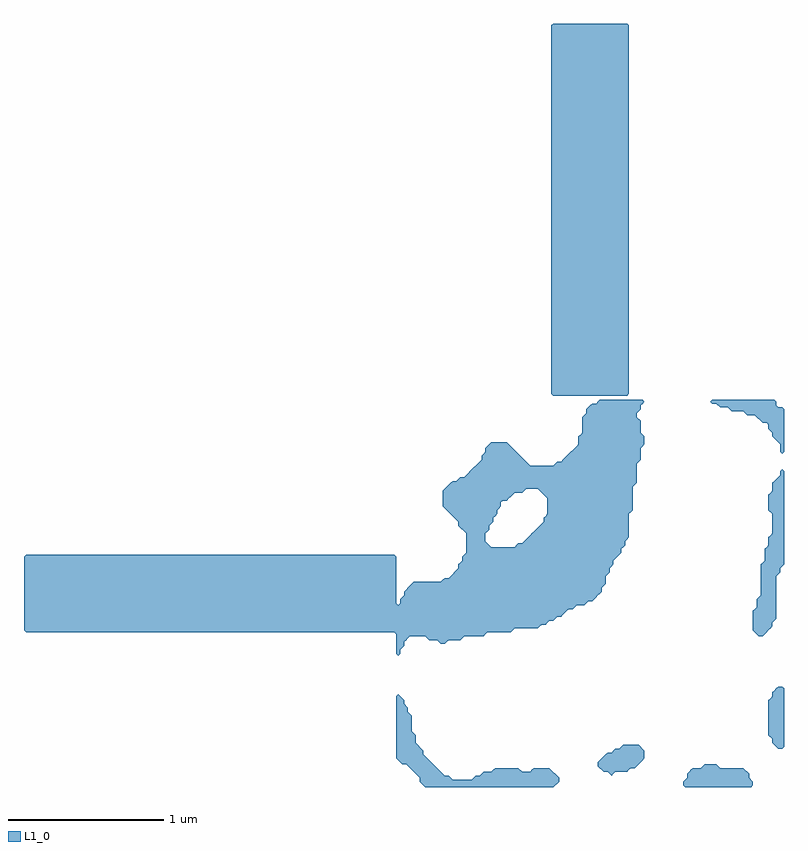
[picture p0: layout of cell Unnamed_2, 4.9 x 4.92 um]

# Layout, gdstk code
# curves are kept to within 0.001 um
import gdstk
lib = gdstk.Library(unit=1e-6, precision=1e-09)
def P(c, l, *ps):  # polygons
    for p in ps: c.add(gdstk.Polygon(p, *l))
L1_0 = (1, 0)

unnamed_2 = lib.new_cell('Unnamed_2')
P(unnamed_2, L1_0, [(0.8,-1.463),(0.787,-1.45),(0.787,-1.425),(0.812,-1.4),(0.812,-1.375),(0.85,-1.338),(0.9,-1.338),(0.925,-1.313),(1,-1.313),(1.025,-1.338),(1.175,-1.338),(1.212,-1.375),(1.212,-1.4),(1.237,-1.425),(1.237,-1.45),(1.225,-1.463)],
  [(0.325,-1.388),(0.3,-1.363),(0.275,-1.363),(0.237,-1.325),(0.237,-1.3),(0.3,-1.238),(0.325,-1.238),(0.35,-1.213),(0.375,-1.213),(0.4,-1.188),(0.5,-1.188),(0.537,-1.225),(0.537,-1.275),(0.475,-1.338),(0.45,-1.338),(0.425,-1.363),(0.35,-1.363)],
  [(-0.875,-1.463),(-0.913,-1.425),(-0.913,-1.4),(-1,-1.313),(-1.025,-1.313),(-1.063,-1.275),(-1.063,-0.875),(-1.05,-0.863),(-1.013,-0.9),(-1.013,-0.925),(-0.988,-0.95),(-0.988,-0.975),(-0.963,-1),(-0.963,-1.1),(-0.938,-1.125),(-0.938,-1.175),(-0.888,-1.225),(-0.888,-1.25),(-0.75,-1.388),(-0.725,-1.388),(-0.7,-1.413),(-0.575,-1.413),(-0.55,-1.388),(-0.525,-1.388),(-0.5,-1.363),(-0.45,-1.363),(-0.425,-1.338),(-0.275,-1.338),(-0.25,-1.363),(-0.2,-1.363),(-0.175,-1.338),(-0.075,-1.338),(-0.013,-1.4),(-0.013,-1.425),(-0.05,-1.463)],
  [(1.4,-1.213),(1.362,-1.175),(1.362,-1.15),(1.337,-1.125),(1.337,-0.9),(1.362,-0.875),(1.362,-0.85),(1.387,-0.825),(1.4,-0.813),(1.425,-0.813),(1.437,-0.825),(1.437,-1.2),(1.425,-1.213)],
  [(1.275,-0.488),(1.237,-0.45),(1.237,-0.325),(1.262,-0.3),(1.262,-0.25),(1.287,-0.225),(1.287,-0.025),(1.312,0),(1.312,0.075),(1.337,0.1),(1.337,0.15),(1.362,0.175),(1.362,0.3),(1.337,0.325),(1.337,0.425),(1.362,0.45),(1.362,0.5),(1.412,0.55),(1.412,0.575),(1.425,0.587),(1.437,0.575),(1.437,-0.025),(1.412,-0.05),(1.412,-0.075),(1.387,-0.1),(1.387,-0.375),(1.362,-0.4),(1.362,-0.425),(1.35,-0.438),(1.3,-0.488)],
  [(-1.05,-0.613),(-1.063,-0.6),(-1.063,-0.475),(-1.075,-0.463),(-3.45,-0.463),(-3.463,-0.45),(-3.463,0.025),(-3.45,0.037),(-1.075,0.037),(-1.063,0.025),(-1.063,-0.275),(-1.05,-0.288),(-1.038,-0.275),(-1.038,-0.25),(-1.013,-0.225),(-1.013,-0.2),(-0.95,-0.138),(-0.775,-0.138),(-0.75,-0.113),(-0.725,-0.113),(-0.663,-0.05),(-0.663,-0.025),(-0.638,0),(-0.638,0.025),(-0.613,0.05),(-0.613,0.175),(-0.663,0.225),(-0.663,0.25),(-0.763,0.35),(-0.763,0.45),(-0.75,0.462),(-0.225,0.462),(-0.25,0.437),(-0.3,0.437),(-0.35,0.387),(-0.375,0.387),(-0.388,0.375),(-0.388,0.35),(-0.413,0.325),(-0.413,0.3),(-0.438,0.275),(-0.438,0.25),(-0.463,0.225),(-0.463,0.2),(-0.488,0.175),(-0.488,0.125),(-0.45,0.087),(-0.3,0.087),(-0.275,0.112),(-0.25,0.112),(-0.113,0.25),(-0.113,0.275),(-0.088,0.3),(-0.088,0.4),(-0.15,0.462),(-0.75,0.462),(-0.7,0.512),(-0.675,0.512),(-0.65,0.537),(-0.625,0.537),(-0.513,0.65),(-0.513,0.675),(-0.488,0.7),(-0.488,0.725),(-0.45,0.762),(-0.35,0.762),(-0.2,0.612),(-0.05,0.612),(-0.025,0.637),(0,0.637),(0.112,0.75),(0.112,0.8),(0.137,0.825),(0.137,0.925),(0.162,0.95),(0.162,0.975),(0.2,1.012),(0.225,1.012),(0.25,1.037),(0.525,1.037),(0.537,1.025),(0.512,1),(0.512,0.975),(0.487,0.95),(0.487,0.925),(0.512,0.9),(0.512,0.825),(0.537,0.8),(0.537,0.75),(0.512,0.725),(0.512,0.65),(0.487,0.625),(0.487,0.5),(0.462,0.475),(0.462,0.325),(0.437,0.3),(0.437,0.15),(0.412,0.125),(0.412,0.1),(0.387,0.075),(0.387,0.05),(0.337,0),(0.337,-0.025),(0.312,-0.05),(0.312,-0.075),(0.287,-0.1),(0.287,-0.15),(0.262,-0.175),(0.262,-0.2),(0.25,-0.213),(0.2,-0.263),(0.175,-0.263),(0.15,-0.288),(0.1,-0.288),(0.075,-0.313),(0.05,-0.313),(0,-0.363),(-0.025,-0.363),(-0.05,-0.388),(-0.075,-0.388),(-0.1,-0.413),(-0.125,-0.413),(-0.15,-0.438),(-0.3,-0.438),(-0.325,-0.463),(-0.475,-0.463),(-0.5,-0.488),(-0.625,-0.488),(-0.65,-0.513),(-0.725,-0.513),(-0.75,-0.538),(-0.775,-0.538),(-0.8,-0.513),(-0.85,-0.513),(-0.875,-0.488),(-0.975,-0.488),(-1.013,-0.525),(-1.013,-0.55),(-1.038,-0.575),(-1.038,-0.6)],
  [(1.425,0.687),(1.412,0.7),(1.412,0.75),(1.362,0.8),(1.362,0.825),(1.337,0.85),(1.337,0.875),(1.325,0.887),(1.3,0.887),(1.25,0.937),(1.2,0.937),(1.175,0.962),(1.1,0.962),(1.075,0.987),(1.025,0.987),(1,1.012),(0.975,1.012),(0.962,1.025),(0.975,1.037),(1.375,1.037),(1.387,1.025),(1.387,1),(1.4,0.987),(1.425,0.987),(1.437,0.975),(1.437,0.7)],
  [(-0.05,1.062),(-0.063,1.075),(-0.063,3.45),(-0.05,3.462),(0.425,3.462),(0.437,3.45),(0.437,1.075),(0.425,1.062)])

lib.write_gds('Unnamed_2.gds')
